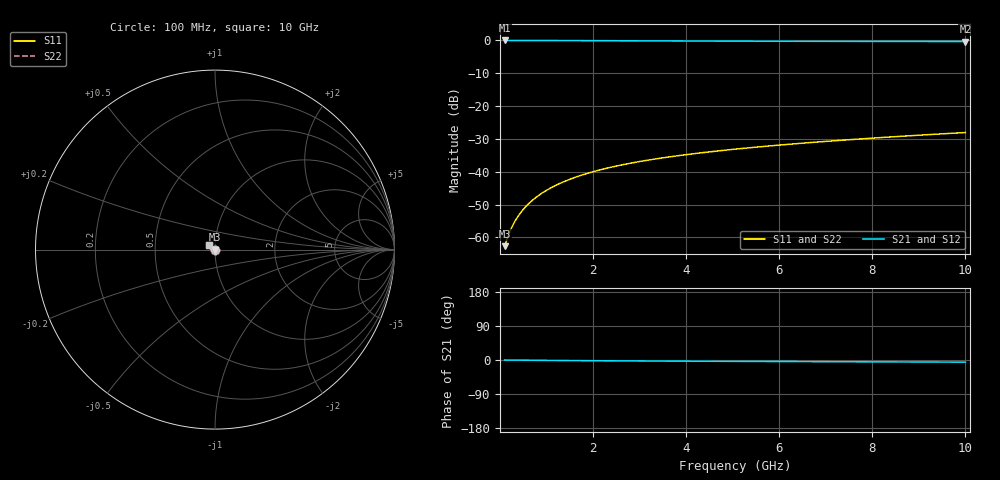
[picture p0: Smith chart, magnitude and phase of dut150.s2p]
! Touchstone file exported from HFSS 2024.1.0
!  File:  C:/UserFiles/LocalFiles/RDL_TSV_Batchsim/temp_TSV1_150_1779381368.aedt
!  Generated:  12:42:45 AM May 22, 2026
!  Design:  TSV1
!  Project:  temp_TSV1_150_1779381368
!  Setup:  Setup1
!  Solution:  Sweep
! Variables:
!  dtsv = 5.22um
!  hbump = 3um
!  htsv = 83.34um
!  lrdl = 252.1521522um
!  p = 40
!  p1 = 48.1um
!  t = 500um
!  trdl = 3um
!  wrdl = 24.89489489um
# GHz S MA R 50.000000
! Terminal data exported
! Port[1] = TSV22_T1
! Port[2] = TSV22_T2
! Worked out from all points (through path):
!   100 points, 100 MHz to 10 GHz, reference 50 ohm
!   highest |S21| = 0.00 dB at 100 MHz (marker M1); lowest = -0.3 dB at 10 GHz (marker M2)
!   lowest |S11| = -62.7 dB at 100 MHz (marker M3), VSWR 1.00, Z = 50.1 - j0.0535 ohm
!   |S11| at or under -10 dB: start of sweep to end of sweep
!   |S22| runs from -62.7 to -28.1 dB; largest |S21 - S12| = 5.2e-15
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0.1  0.0007333 -46.7  0.9995 -0.1  0.9995 -0.1  0.0007333 -46.7
! Gamma 0 0 0 0
! Port Impedance 50 0 50 0
0.2  0.001168 -67.6  0.9994 -0.2  0.9994 -0.2  0.001168 -67.6
0.3  0.001656 -78.2  0.9993 -0.3  0.9993 -0.3  0.001656 -78.2
0.4  0.002159 -85.0  0.9991 -0.4  0.9991 -0.4  0.002159 -85.0
0.5  0.002667 -90.1  0.9989 -0.5  0.9989 -0.5  0.002667 -90.1
0.6  0.003178 -94.3  0.9987 -0.6  0.9987 -0.6  0.003178 -94.3
0.7  0.003687 -97.9  0.9984 -0.7  0.9984 -0.7  0.003687 -97.9
0.8  0.004195 -101.2  0.9981 -0.8  0.9981 -0.8  0.004195 -101.2
0.9  0.004701 -104.3  0.9977 -0.9  0.9977 -0.9  0.004701 -104.3
1  0.005203 -107.2  0.9973 -1.0  0.9973 -1.0  0.005203 -107.2
1.2  0.006197 -112.6  0.9965 -1.2  0.9965 -1.2  0.006197 -112.6
1.5  0.007653 -120.0  0.995 -1.4  0.995 -1.4  0.007653 -120.0
1.8  0.009066 -126.9  0.9934 -1.7  0.9934 -1.7  0.009066 -126.9
2.1  0.01043 -133.4  0.9916 -1.9  0.9916 -1.9  0.01043 -133.4
2.5  0.01219 -141.4  0.9892 -2.2  0.9892 -2.2  0.01219 -141.4
2.9  0.01386 -148.8  0.9868 -2.5  0.9868 -2.5  0.01386 -148.8
3.4  0.01587 -157.3  0.9838 -2.8  0.9838 -2.8  0.01587 -157.3
4.2  0.01893 -169.2  0.9795 -3.2  0.9795 -3.2  0.01893 -169.2
5.1  0.02222 179.4  0.9755 -3.6  0.9755 -3.6  0.02222 179.4
6.7  0.02789 163.4  0.9699 -4.3  0.9699 -4.3  0.02789 163.4
8.4  0.03386 150.7  0.9659 -5.0  0.9659 -5.0  0.03386 150.7
10  0.03951 141.5  0.9631 -5.6  0.9631 -5.6  0.03951 141.5
